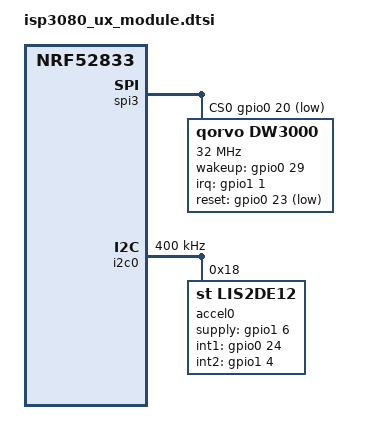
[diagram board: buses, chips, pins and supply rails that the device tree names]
#include <nordic/nrf52833_qiaa.dtsi>
#include "isp3080_ux_module-pinctrl.dtsi"
#include <zephyr/dt-bindings/input/input-event-codes.h>

/ {
	chosen {

		zephyr,sram = &sram0;
		zephyr,flash = &flash0;
		zephyr,code-partition = &slot0_partition;
		zephyr,ieee802154 = &ieee802154;
	};

	aliases {
		watchdog0 = &wdt0;
	};
};

&gpio0 {
	status = "okay";
};

&gpio1 {
	status = "okay";
};

&gpiote {
    status = "okay";
};

&uicr {
	gpio-as-nreset;
};

&reg1 {
	regulator-initial-mode = <NRF5X_REG_MODE_DCDC>;
};

&flash0 {
	partitions {
		compatible = "fixed-partitions";
		#address-cells = <1>;
		#size-cells = <1>;

		boot_partition: partition@0 {
			label = "mcuboot";
			reg = <0x00000000 DT_SIZE_K(48)>;
		};

		slot0_partition: partition@c000 {
			label = "image-0";
			reg = <0x0000c000 DT_SIZE_K(220)>;
		};

		slot1_partition: partition@43000 {
			label = "image-1";
			reg = <0x00043000 DT_SIZE_K(220)>;
		};

		storage_partition: partition@7a000 {
			label = "storage";
			reg = <0x0007a000 DT_SIZE_K(24)>;
		};
	};
};

&spi3 {
	status = "okay";
	cs-gpios = <&gpio0 20 GPIO_ACTIVE_LOW>; 
	pinctrl-0 = <&spi3_default>;
	pinctrl-1 = <&spi3_sleep>;
	pinctrl-names = "default", "sleep";

    dw3000@0 {
        compatible = "qorvo,dw3000";
        spi-max-frequency = <32000000>;
        reg = <0>;
        wakeup-gpios  = <&gpio0 29 GPIO_ACTIVE_HIGH>; 
        irq-gpios     = <&gpio1 1 GPIO_ACTIVE_HIGH>;
        reset-gpios   = <&gpio0 23 GPIO_ACTIVE_LOW>; 
    };
};

&i2c0 {
	status = "okay";
	pinctrl-0 = <&i2c0_default>;
	pinctrl-1 = <&i2c0_sleep>;
	pinctrl-names = "default", "sleep";
	clock-frequency = <I2C_BITRATE_FAST>;
	accel0: lis2de12@18 {
		compatible = "st,lis2de12";
		reg = <0x18>;
		supply-gpios = <&gpio1 6 GPIO_ACTIVE_HIGH>;
		int1-gpios = <&gpio0 24 GPIO_ACTIVE_HIGH>;
		int2-gpios = <&gpio1 4 GPIO_ACTIVE_HIGH>;
		accel-range = <0>;
		accel-odr = <0>;
		drdy-pulsed;
		zephyr,deferred-init;
	};
};
